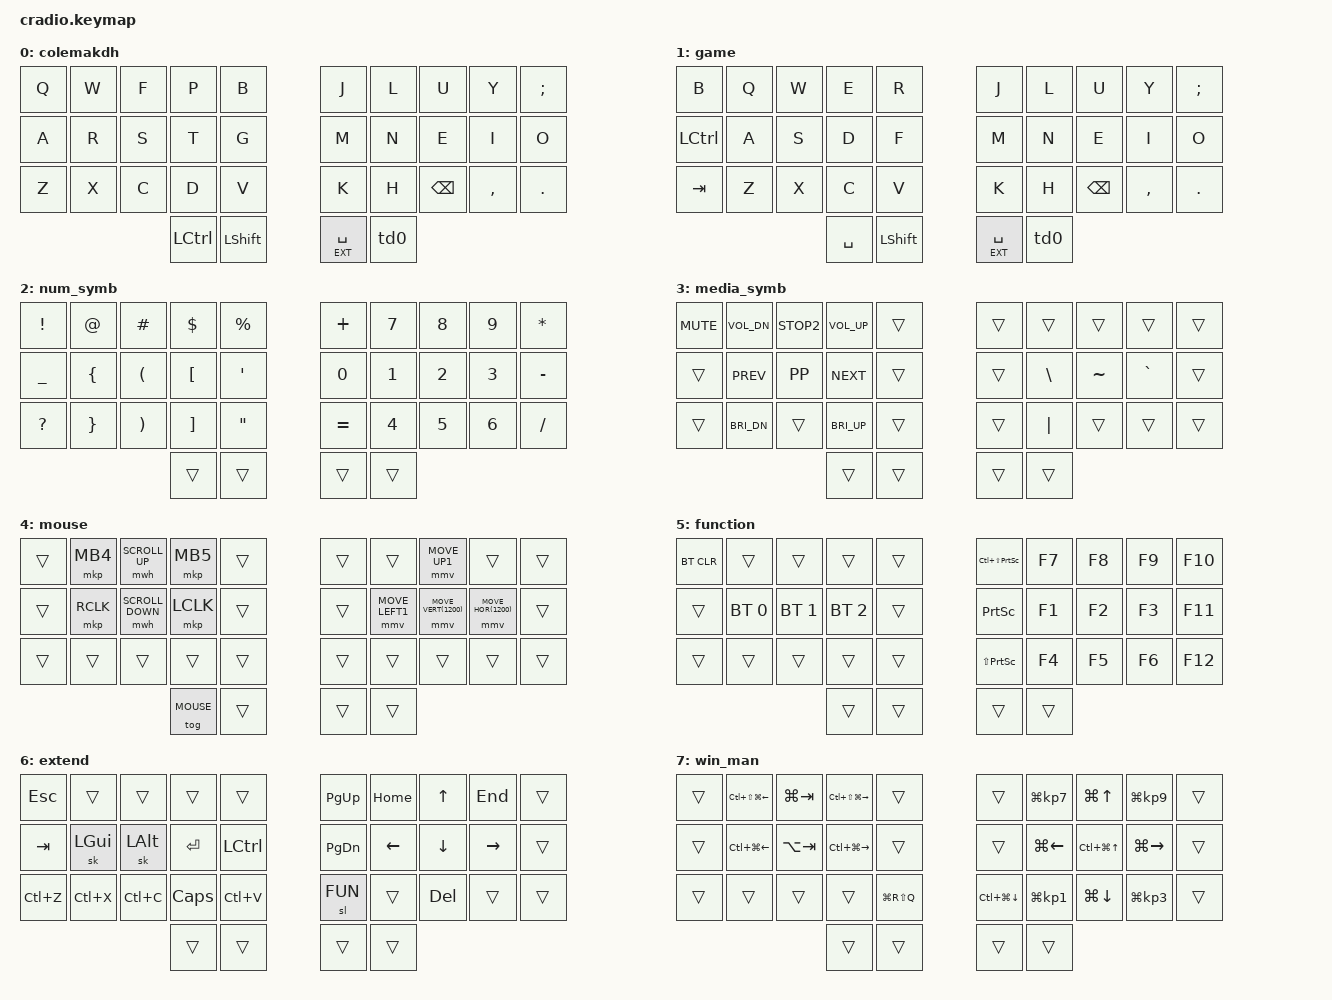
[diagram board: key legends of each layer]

  /*
  * Copyright (c) 2020 The ZMK Contributors
  *
  * SPDX-License-Identifier: MIT
  */

  #include <behaviors.dtsi>
  #include <dt-bindings/zmk/keys.h>
  #include <dt-bindings/zmk/bt.h>
  #include <dt-bindings/zmk/ext_power.h>
  #include <dt-bindings/zmk/mouse.h>

  #define MAIN 0    // colemak-dh
  #define GAME 1    // kind of qwerty for games
  #define NUM_S 2   // num + symbols
  #define MED_S 3   // media + symbols
  #define MOUSE 4   // mouse
  #define FUN 5     // function
  #define EXT 6     // extend
  #define WM 7      // window manager

  #define MOVE_UP1 MOVE_VERT(-1200)
  #define MOVE_DOWN1 MOVE_VERT(1200)
  #define MOVE_LEFT1 MOVE_HOR(-1200)
  #define MOVE_RIGHT1 MOVE_HOR(1200)

  / {
    behaviors {
        td0: tap_dance_0 {
            compatible = "zmk,behavior-tap-dance";
            label = "TAP_DANCE_0";
            #binding-cells = <0>;
            tapping-term-ms = <300>;
            bindings = <&mo NUM_S>, <&mo MED_S>;
        };
    };

    keymap {
      compatible = "zmk,keymap";

        // main layer, colemak
        colemakdh {
          bindings = <
          &kp Q &kp W &kp F &kp P &kp B     &kp J &kp L &kp U &kp Y &kp SEMICOLON
          &kp A &kp R &kp S &kp T &kp G     &kp M &kp N &kp E &kp I &kp O
          &kp Z &kp X &kp C &kp D &kp V     &kp K &kp H &kp BACKSPACE &kp COMMA &kp DOT
              &kp LEFT_CONTROL &kp LEFT_SHIFT   &lt EXT SPACE &td0
          >;
        };

        game {
          bindings = <
          &kp B      &kp Q  &kp W  &kp E  &kp R     &kp J  &kp L  &kp U          &kp Y      &kp SEMICOLON
          &kp LCTRL  &kp A  &kp S  &kp D  &kp F     &kp M  &kp N  &kp E          &kp I      &kp O
          &kp TAB    &kp Z  &kp X  &kp C  &kp V     &kp K  &kp H  &kp BACKSPACE  &kp COMMA  &kp DOT
                             &kp SPACE &kp LSHFT   &lt EXT SPACE &td0
          >;
        };

        // numbers and symbols
        num_symb {
          bindings = <
          &kp EXCL &kp AT &kp POUND &kp DLLR &kp PRCNT      &kp PLUS &kp N7 &kp N8 &kp N9 &kp STAR
          &kp UNDER &kp LBRC &kp LPAR &kp LBKT &kp SQT      &kp N0 &kp N1 &kp N2 &kp N3 &kp MINUS
          &kp QMARK &kp RBRC &kp RPAR &kp RBKT &kp DQT      &kp EQUAL &kp N4 &kp N5 &kp N6 &kp SLASH
                  &trans &trans      &trans &trans

          >;
        };

        // media and more symbols
        media_symb {
          bindings = <
          &kp K_MUTE  &kp K_VOL_DN  &kp K_STOP2  &kp K_VOL_UP  &trans        &trans  &trans    &trans     &trans     &trans
          &trans      &kp K_PREV    &kp K_PP     &kp K_NEXT    &trans        &trans  &kp BSLH  &kp TILDE  &kp GRAVE  &trans
          &trans      &kp C_BRI_DN  &trans       &kp C_BRI_UP  &trans        &trans  &kp PIPE  &trans     &trans     &trans
                                                        &trans &trans       &trans &trans
          >;
        };

        // mouse layer
        mouse {
          bindings = <
          &trans &mkp MB4 &mwh SCROLL_UP &mkp MB5 &trans        &trans &trans &mmv MOVE_UP1 &trans &trans
          &trans &mkp RCLK &mwh SCROLL_DOWN &mkp LCLK &trans  &trans &mmv MOVE_LEFT1 &mmv MOVE_DOWN1 &mmv MOVE_RIGHT1 &trans
          &trans &trans &trans &trans &trans                    &trans &trans &trans &trans &trans
                                      &tog MOUSE &trans             &trans &trans

          >;
        };

        // function keys, screenshot shortcuts, and some bluetooth stuff
        function {
          bindings = <
          &bt BT_CLR  &trans        &trans        &trans        &trans        &kp LC(LS(PSCRN))  &kp F7  &kp F8  &kp F9  &kp F10
          &trans      &bt BT_SEL 0  &bt BT_SEL 1  &bt BT_SEL 2  &trans        &kp PSCRN          &kp F1  &kp F2  &kp F3  &kp F11
          &trans      &trans        &trans        &trans        &trans        &kp LS(PSCRN)      &kp F4  &kp F5  &kp F6  &kp F12
                                                         &trans &trans       &trans &trans
          >;
        };

        // main modifiers and arrow keys
        extend {
            bindings = <
            &kp ESC  &trans &trans  &trans  &trans                     &kp PG_UP  &kp HOME &kp UP &kp END &trans
            &kp TAB &sk LGUI  &sk LALT  &kp ENTER  &kp LCTRL           &kp PG_DN &kp LEFT  &kp DOWN  &kp RIGHT &trans
            &kp LC(Z)  &kp LC(X) &kp LC(C) &kp CAPS   &kp LC(V)        &sl FUN &trans &kp DEL &trans  &trans
                                                &trans &trans         &trans  &trans
            >;
        };

        // TODO
        // window manager layer
        win_man{
          bindings = <
          &trans &kp LC(LS(LG(LEFT))) &kp LG(TAB) &kp LC(LS(LG(RIGHT))) &trans     &trans &kp LG(KP_N7) &kp LG(UP) &kp LG(KP_N9) &trans
          &trans &kp LC(LG(LEFT)) &kp LA(TAB) &kp LC(LG(RIGHT)) &trans         &trans  &kp LG(LEFT) &kp LC(LG(UP)) &kp LG(RIGHT) &trans
          &trans &trans &trans &trans &kp LG(RS(Q))          &kp LC(LG(DOWN)) &kp LG(KP_N1) &kp LG(DOWN) &kp LG(KP_N3) &trans
                                              &trans &trans           &trans &trans

          >;
        };

    };
  };

/ {
    combos {
        compatible = "zmk,combos";

        combo_wm {
            timeout-ms = <80>;
            key-positions = <30 33>;
            bindings = <&sl WM>;
        };

        combo_mouse_mode {
            timeout-ms = <80>;
            key-positions = <16 33>;
            bindings = <&tog MOUSE>;
        };

        combo_game_mode {
            timeout-ms = <150>;
            key-positions = <2 3 6 7>;
            layers = <MAIN GAME>;
            bindings = <&tog GAME>;
        };

    };
};
